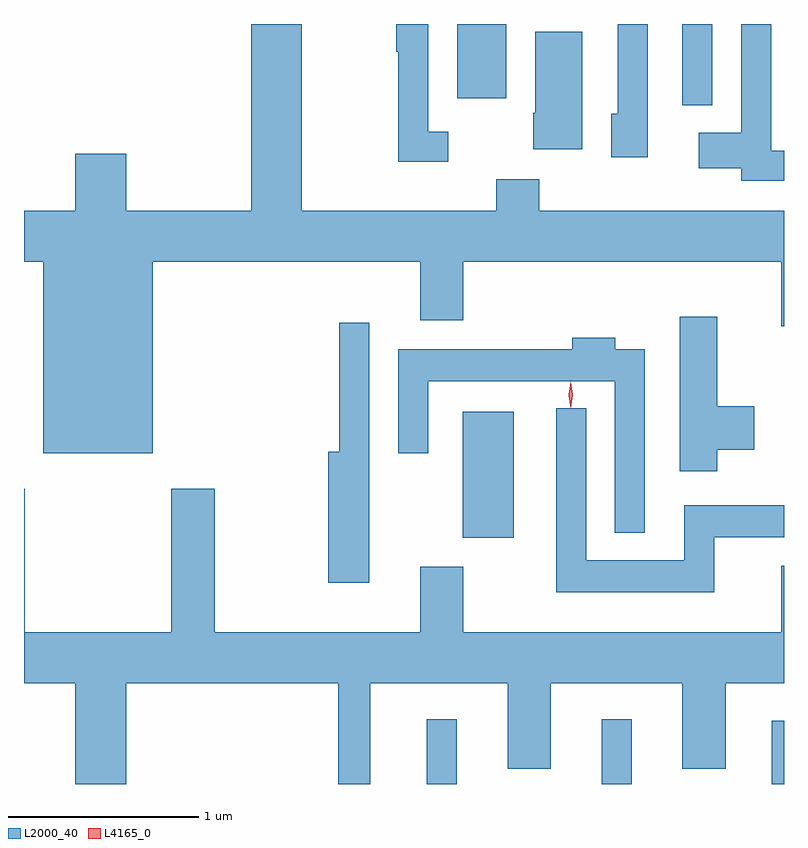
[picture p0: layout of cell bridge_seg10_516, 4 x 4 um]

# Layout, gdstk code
import gdstk
lib = gdstk.Library(unit=1e-6, precision=1e-09)
def R(c, l, rs):  # rectangles x0, y0, x1, y1
    for r in rs: c.add(gdstk.rectangle(r[:2], r[2:], *l))
def P(c, l, *ps):  # polygons
    for p in ps: c.add(gdstk.Polygon(p, *l))
L2000_40 = (2000, 40)
L4165_0 = (4165, 0)

bridge_seg10_516 = lib.new_cell('bridge_seg10_516')
R(bridge_seg10_516, L2000_40, [(776.366,2171.106,776.524,2171.448), (777.286,2171.106,777.444,2171.448), (778.181,2171.106,778.246,2171.439), (776.556,2172.401,776.824,2173.064), (777.711,2174.678,777.869,2175.106), (776.526,2174.716,776.784,2175.106)])
P(bridge_seg10_516, L2000_40, [(774.924,2173.856),(776.331,2173.856),(776.331,2173.546),(776.559,2173.546),(776.559,2173.856),(778.231,2173.856),(778.231,2173.516),(778.246,2173.516),(778.246,2174.124),(776.959,2174.124),(776.959,2174.289),(776.731,2174.289),(776.731,2174.124),(775.709,2174.124),(775.709,2175.106),(775.441,2175.106),(775.441,2174.124),(774.784,2174.124),(774.784,2174.424),(774.516,2174.424),(774.516,2174.124),(774.246,2174.124),(774.246,2173.856),(774.346,2173.856),(774.346,2172.846),(774.924,2172.846)],
  [(778.246,2174.439),(778.179,2174.439),(778.179,2175.106),(778.021,2175.106),(778.021,2174.534),(777.796,2174.534),(777.796,2174.346),(778.021,2174.346),(778.021,2174.281),(778.246,2174.281)],
  [(776.478,2174.539),(776.374,2174.539),(776.374,2175.106),(776.206,2175.106),(776.206,2174.96),(776.216,2174.96),(776.216,2174.381),(776.478,2174.381)],
  [(777.529,2175.106),(777.371,2175.106),(777.371,2174.634),(777.336,2174.634),(777.336,2174.406),(777.529,2174.406)],
  [(777.184,2175.064),(776.936,2175.064),(776.936,2174.64),(776.926,2174.64),(776.926,2174.446),(777.184,2174.446)],
  [(777.894,2172.866),(778.089,2172.866),(778.089,2173.094),(777.894,2173.094),(777.894,2173.564),(777.696,2173.564),(777.696,2172.751),(777.894,2172.751)],
  [(776.064,2173.533),(775.906,2173.533),(775.906,2172.854),(775.846,2172.854),(775.846,2172.166),(776.064,2172.166)],
  [(777.514,2173.394),(777.359,2173.394),(777.359,2173.454),(777.131,2173.454),(777.131,2173.394),(776.216,2173.394),(776.216,2172.848),(776.374,2172.848),(776.374,2173.226),(777.356,2173.226),(777.356,2172.428),(777.514,2172.428)],
  [(777.879,2172.406),(778.246,2172.406),(778.246,2172.574),(777.721,2172.574),(777.721,2172.284),(777.204,2172.284),(777.204,2173.083),(777.046,2173.083),(777.046,2172.116),(777.879,2172.116)],
  [(774.784,2171.636),(775.901,2171.636),(775.901,2171.106),(776.069,2171.106),(776.069,2171.636),(776.791,2171.636),(776.791,2171.186),(777.019,2171.186),(777.019,2171.636),(777.711,2171.636),(777.711,2171.186),(777.939,2171.186),(777.939,2171.636),(778.246,2171.636),(778.246,2172.254),(778.231,2172.254),(778.231,2171.904),(776.559,2171.904),(776.559,2172.249),(776.331,2172.249),(776.331,2171.904),(775.249,2171.904),(775.249,2172.659),(775.021,2172.659),(775.021,2171.904),(774.249,2171.904),(774.249,2172.659),(774.246,2172.659),(774.246,2171.636),(774.516,2171.636),(774.516,2171.106),(774.784,2171.106)])
P(bridge_seg10_516, L4165_0, [(777.123,2173.084),(777.123,2173.084),(777.113,2173.153),(777.123,2173.222),(777.123,2173.223),(777.124,2173.222),(777.133,2173.153),(777.124,2173.084)],
  [(777.124,2173.087),(777.124,2173.088),(777.114,2173.154),(777.124,2173.22),(777.124,2173.22),(777.124,2173.22),(777.134,2173.154),(777.124,2173.088)])

lib.write_gds('bridge_seg10_516.gds')
